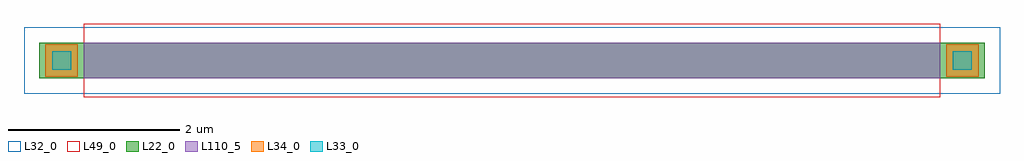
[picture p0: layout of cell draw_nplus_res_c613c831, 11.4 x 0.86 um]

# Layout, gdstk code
import gdstk
lib = gdstk.Library(unit=1e-6, precision=1e-09)
def R(c, l, rs):  # rectangles x0, y0, x1, y1
    for r in rs: c.add(gdstk.rectangle(r[:2], r[2:], *l))
L22_0 = (22, 0)
L32_0 = (32, 0)
L33_0 = (33, 0)
L34_0 = (34, 0)
L49_0 = (49, 0)
L110_5 = (110, 5)

draw_nplus_res_c613c831 = lib.new_cell('draw_nplus_res_c613c831')
R(draw_nplus_res_c613c831, L22_0, [(-0.52,0,10.52,0.42)])
R(draw_nplus_res_c613c831, L32_0, [(-0.7,-0.18,10.7,0.6)])
R(draw_nplus_res_c613c831, L33_0, [(-0.37,0.1,-0.15,0.32), (10.15,0.1,10.37,0.32)])
R(draw_nplus_res_c613c831, L34_0, [(-0.45,0.02,-0.07,0.4), (10.07,0.02,10.45,0.4)])
R(draw_nplus_res_c613c831, L49_0, [(0,-0.22,10,0.64)])
R(draw_nplus_res_c613c831, L110_5, [(0,0,10,0.42)])

lib.write_gds('draw_nplus_res_c613c831.gds')
